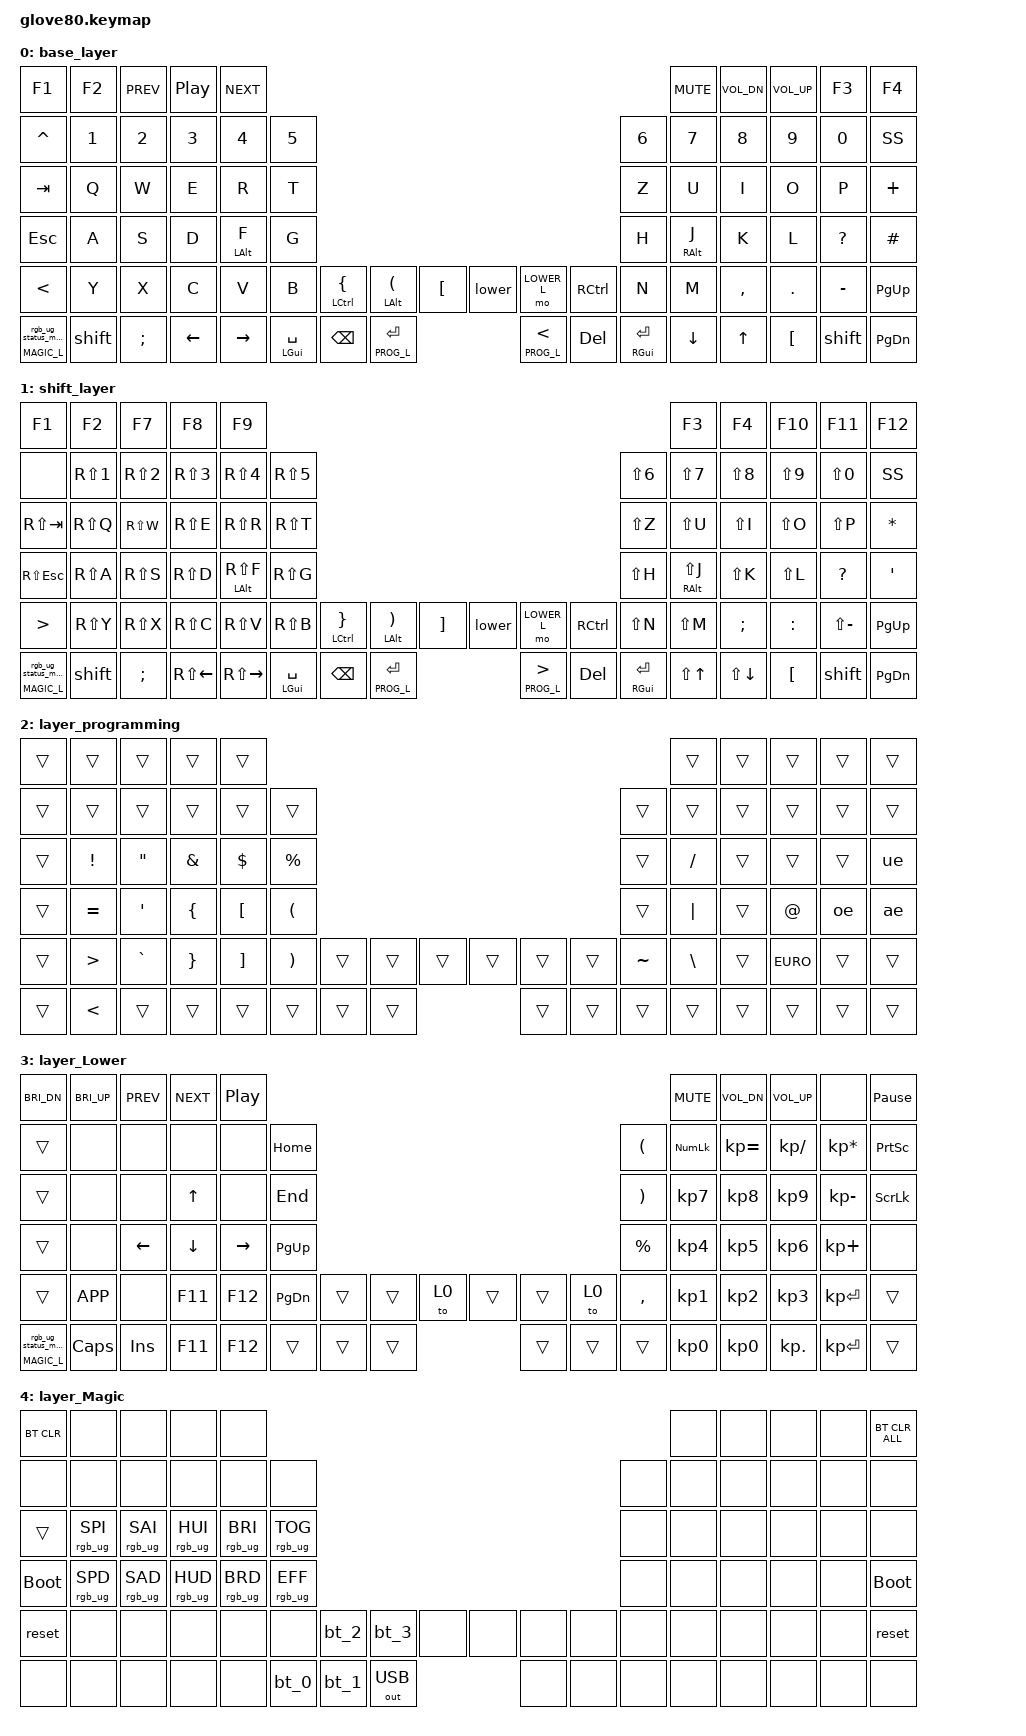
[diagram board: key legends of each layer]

/*
 * Copyright (c) 2020 The ZMK Contributors
 * Copyright (c) 2022 Innaworks Development Limited, trading as MoErgo
 *
 * SPDX-License-Identifier: MIT
 */


/* THIS FILE WAS GENERATED BY GLOVE80 LAYOUT EDITOR
 *
 * This file was generated automatically. You may or may not want to
 * edit it directly.
 */

#include <behaviors.dtsi>
/* Include all behaviour includes needed by system behaviors/macros */
#include <dt-bindings/zmk/outputs.h>

/* Include behaviour includes needed by key binds - automatically generated */
#include <dt-bindings/zmk/keys.h>
#include <dt-bindings/zmk/bt.h>
#include <dt-bindings/zmk/rgb.h>
#include <dt-bindings/zmk/outputs.h>


#define SHIFT_L 1
#define PROG_L  2
#define LOWER_L 3
#define MAGIC_L 4

/ {
    /* Glove80 system behavior & macros */
    behaviors {
        // For the "layer" key, it'd nice to be able to use it as either a shift or a toggle.
        // Configure it as a tap dance, so the first tap (or hold) is a &mo and the second tap is a &to
        lower: tap_dance_0 {
            compatible = "zmk,behavior-tap-dance";
            label = "LAYER_TAP_DANCE";
            #binding-cells = <0>;
            tapping-term-ms = <200>;
            bindings = <&mo LOWER_L>, <&to LOWER_L>;
        };
    };

    macros {
        rgb_ug_status_macro: rgb_ug_status_macro_0 {
            label = "RGB_UG_STATUS";
            compatible = "zmk,behavior-macro";
            #binding-cells = <0>;
            bindings
                = <&rgb_ug RGB_STATUS>;
        };
    };

    macros {
        bt_0: bt_profile_macro_0 {
            label = "BT_0";
            compatible = "zmk,behavior-macro";
            #binding-cells = <0>;
            bindings
                = <&out OUT_BLE>,
                  <&bt BT_SEL 0>;
        };
    };

    macros {
        bt_1: bt_profile_macro_1 {
            label = "BT_1";
            compatible = "zmk,behavior-macro";
            #binding-cells = <0>;
            bindings
                = <&out OUT_BLE>,
                  <&bt BT_SEL 1>;
        };
    };

    macros {
        bt_2: bt_profile_macro_2 {
            label = "BT_2";
            compatible = "zmk,behavior-macro";
            #binding-cells = <0>;
            bindings
                = <&out OUT_BLE>,
                  <&bt BT_SEL 2>;
        };
    };

    macros {
        bt_3: bt_profile_macro_3 {
            label = "BT_3";
            compatible = "zmk,behavior-macro";
            #binding-cells = <0>;
            bindings
                = <&out OUT_BLE>,
                  <&bt BT_SEL 3>;
        };
    };

    magic: magic_hold_tap {
        compatible = "zmk,behavior-hold-tap";
        label = "MAGIC_HOLD_TAP";
        #binding-cells = <2>;
        flavor = "tap-preferred";
        tapping-term-ms = <200>;
        bindings = <&mo>, <&rgb_ug_status_macro>;
    };

    /* Custom Defined Behaviors */

    shift: my_shift {
            compatible = "zmk,behavior-tap-dance";
            label = "MY_SHIFT";
            #binding-cells = <0>;
            tapping-term-ms = <200>;
            bindings = <&mo SHIFT_L>, <&caps_word>;
        };

    ae: my_ae {
            label = "ae";
            compatible = "zmk,behavior-macro";
            #binding-cells = <0>;
            wait-ms = <0>;
            tap-ms = <0>;
            bindings
                = <&macro_press &kp RALT>
                , <&macro_tap &kp U>
                , <&macro_release &kp RALT>
                , <&macro_tap &kp A>
                ;
    };

    oe: my_oe {
            label = "oe";
            compatible = "zmk,behavior-macro";
            #binding-cells = <0>;
            wait-ms = <0>;
            tap-ms = <0>;
            bindings
                = <&macro_press &kp RALT>
                , <&macro_tap &kp U>
                , <&macro_release &kp RALT>
                , <&macro_tap &kp O>
                ;
    };

    ue: my_ue {
            label = "ue";
            compatible = "zmk,behavior-macro";
            #binding-cells = <0>;
            wait-ms = <0>;
            tap-ms = <0>;
            bindings
                = <&macro_press &kp RALT>
                , <&macro_tap &kp U>
                , <&macro_release &kp RALT>
                , <&macro_tap &kp U>
                ;
    };

   /* rshift: my_shift_r {
            compatible = "zmk,behavior-tap-dance";
            label = "MY_SHIFT_R;
            #binding-cells = <0>;
            tapping-term-ms = <200>;
            bindings = <&kp RSHIFT>, <&caps_word>;
        }; */

    hm: homerow_mods_kp {
            compatible = "zmk,behavior-hold-tap";
            label = "HOMEROW_MODS_KP";
            #binding-cells = <2>;
            tapping-term-ms = <200>;
            quick-tap-ms = <180>;
            global-quick-tap;
            flavor = "balanced";
            bindings = <&kp>, <&kp>;
        };

    hml: homerow_mods_mo {
            compatible = "zmk,behavior-hold-tap";
            label = "HOMEROW_MODS_ML";
            #binding-cells = <2>;
            tapping-term-ms = <200>;
            quick-tap-ms = <180>;
            global-quick-tap;
            flavor = "balanced";
            bindings = <&mo>, <&kp>;
        };


 
    combos {
            compatible = "zmk,combos";
            combo_prog_l1 {
                timeout-ms = <100>;
                key-positions = <69 70>;
                bindings = <&mo PROG_L>;
            };
            combo_prog_l2 {
                timeout-ms = <100>;
                key-positions = <73 74>;
                bindings = <&mo PROG_L>;
            };
            combo_prog_l2_v2 {
                timeout-ms = <100>;
                key-positions = <69 74>;
                bindings = <&mo PROG_L>;
            };

        };
    
    /* Automatically generated keymap */
    keymap {
        compatible = "zmk,keymap";

        base_layer {
            bindings = <
    &kp F1          &kp F2  &kp C_PREV  &kp C_PP    &kp C_NEXT                                                                                                          &kp K_MUTE  &kp K_VOL_DN &kp K_VOL_UP &kp F3    &kp F4      
    &kp CARET       &kp N1  &kp N2      &kp N3      &kp N4      &kp N5                                                                                      &kp N6      &kp N7      &kp N8      &kp N9      &kp N0      &kp SS
    &kp TAB         &kp Q   &kp W       &kp E       &kp R       &kp T                                                                                       &kp Z       &kp U       &kp I       &kp O       &kp P       &kp PLUS
    &kp ESC         &kp A   &kp S       &kp D       &hm LALT F  &kp G                                                                                       &kp H       &hm RALT J  &kp K       &kp L       &kp QMARK   &kp HASH
    &kp LT          &kp Y   &kp X       &kp C       &kp V       &kp B       &hm LCTRL LBRC   &hm LALT LPAR   &kp LBKT   &lower  &mo LOWER_L &kp RCTRL       &kp N       &kp M       &kp COMMA   &kp DOT     &kp MINUS   &kp PG_UP
    &magic MAGIC_L 0 &shift &kp SEMI    &kp LEFT    &kp RIGHT               &hm LGUI SPACE   &kp BSPC   &hml PROG_L RET &hml PROG_L LT  &kp DEL   &hm RGUI ENTER        &kp DOWN    &kp UP      &kp LBKT    &shift      &kp PG_DN
            >;
        }; 

        shift_layer {
            bindings = <
    &kp F1      &kp F2      &kp F7      &kp F8          &kp F9                                                                                                                          &kp F3          &kp F4          &kp F10         &kp F11         &kp F12
    &none       &kp RS(N1)  &kp RS(N2)  &kp RS(N3)      &kp RS(N4)      &kp RS(N5)                                                                                      &kp LS(N6)      &kp LS(N7)      &kp LS(N8)      &kp LS(N9)      &kp LS(N0)      &kp SS
    &kp RS(TAB) &kp RS(Q)   &kp RS(W)   &kp RS(E)       &kp RS(R)       &kp RS(T)                                                                                       &kp LS(Z)       &kp LS(U)       &kp LS(I)       &kp LS(O)       &kp LS(P)       &kp STAR
    &kp RS(ESC) &kp RS(A)   &kp RS(S)   &kp RS(D)       &hm LALT RS(F)  &kp RS(G)                                                                                       &kp LS(H)  &hm RALT LS(J)  &kp LS(K)       &kp LS(L)       &kp QMARK       &kp SQT
    &kp GT      &kp RS(Y)   &kp RS(X)   &kp RS(C)       &kp RS(V)       &kp RS(B)       &hm LCTRL RBRC   &hm LALT RPAR   &kp RBKT   &lower  &mo LOWER_L &kp RCTRL       &kp LS(N)       &kp LS(M)       &kp SEMICOLON   &kp COLON       &kp LS(MINUS)   &kp PG_UP
    &magic MAGIC_L 0 &shift &kp SEMI    &kp RS(LEFT)    &kp RS(RIGHT)                   &hm LGUI SPACE   &kp BSPC        &hml PROG_L RET    &hml PROG_L GT  &kp DEL     &hm RGUI ENTER                  &kp LS(UP)      &kp LS(DOWN)    &kp LBKT        &shift          &kp PG_DN
            >;
        }; 

        layer_programming {
            bindings = <
 &trans  &trans             &trans      &trans    &trans                                                                            &trans      &trans  &trans  &trans  &trans
 &trans  &trans             &trans      &trans    &trans    &trans                                                      &trans      &trans      &trans  &trans  &trans  &trans
 &trans  &kp EXCLAMATION    &kp DQT     &kp AMPS  &kp DLLR  &kp PRCNT                                                   &trans      &kp SLASH   &trans  &trans  &trans  &ue
 &trans  &kp EQUAL          &kp SQT     &kp LBRC  &kp LBKT  &kp LPAR                                                    &trans      &kp PIPE    &trans  &kp AT  &oe     &ae
 &trans  &kp GT             &kp GRAVE   &kp RBRC  &kp RBKT  &kp RPAR    &trans  &trans  &trans  &trans  &trans  &trans  &kp TILDE   &kp BSLH    &trans  &kp EURO &trans &trans
 &trans  &kp LT             &trans      &trans    &trans                &trans  &trans  &trans  &trans  &trans  &trans              &trans      &trans  &trans  &trans  &trans
            >;
        };

        layer_Lower {
            bindings = <
       &kp C_BRI_DN   &kp C_BRI_UP    &kp C_PREV      &kp C_NEXT    &kp C_PP                                                                                        &kp C_MUTE  &kp C_VOL_DN  &kp C_VOL_UP  &none           &kp PAUSE_BREAK
       &trans         &none           &none           &none         &none       &kp HOME                                                    &kp LEFT_PARENTHESIS    &kp KP_NUM  &kp KP_EQUAL  &kp KP_SLASH  &kp KP_MULTIPLY &kp PRINTSCREEN
       &trans         &none           &none    &kp UP_ARROW         &none       &kp END                                                     &kp RIGHT_PARENTHESIS   &kp KP_N7     &kp KP_N8   &kp KP_N9     &kp KP_MINUS    &kp SCROLLLOCK
       &trans         &none     &kp LEFT_ARROW  &kp DOWN_ARROW  &kp RIGHT_ARROW  &kp PG_UP                                                            &kp PERCENT   &kp KP_N4     &kp KP_N5   &kp KP_N6     &kp KP_PLUS     &none
       &trans         &kp K_APP       &none         &kp F11         &kp F12     &kp PG_DN   &trans  &trans   &to 0  &trans  &trans  &to 0              &kp COMMA    &kp KP_N1     &kp KP_N2   &kp KP_N3     &kp KP_ENTER    &trans
       &magic MAGIC_L 0 &kp CAPS      &kp INS         &kp F11       &kp F12                 &trans  &trans  &trans  &trans  &trans  &trans                          &kp KP_N0     &kp KP_N0   &kp KP_DOT    &kp KP_ENTER    &trans
            >;
        };

        layer_Magic {
            bindings = <
  &bt BT_CLR            &none            &none            &none            &none                                                                                  &none   &none   &none   &none  &bt BT_CLR_ALL
       &none            &none            &none            &none            &none            &none                                                         &none   &none   &none   &none   &none           &none
      &trans  &rgb_ug RGB_SPI  &rgb_ug RGB_SAI  &rgb_ug RGB_HUI  &rgb_ug RGB_BRI  &rgb_ug RGB_TOG                                                         &none   &none   &none   &none   &none           &none
 &bootloader  &rgb_ug RGB_SPD  &rgb_ug RGB_SAD  &rgb_ug RGB_HUD  &rgb_ug RGB_BRD  &rgb_ug RGB_EFF                                                         &none   &none   &none   &none   &none     &bootloader
      &reset            &none            &none            &none            &none            &none   &bt_2   &bt_3         &none   &none   &none   &none   &none   &none   &none   &none   &none          &reset
       &none            &none            &none            &none            &none                    &bt_0   &bt_1  &out OUT_USB   &none   &none   &none           &none   &none   &none   &none           &none
            >;
        };

    };
};
